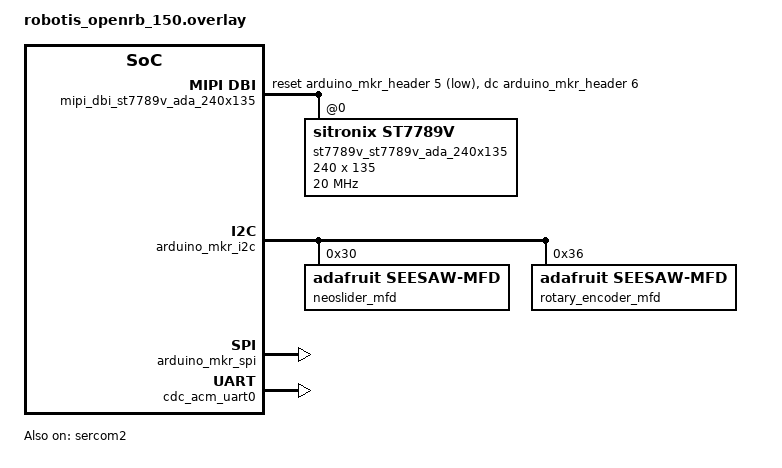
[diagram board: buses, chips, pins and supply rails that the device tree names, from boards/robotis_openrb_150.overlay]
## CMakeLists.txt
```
cmake_minimum_required(VERSION 3.20.0)

find_package(Zephyr REQUIRED HINTS $ENV{ZEPHYR_BASE})
project(motor_controller LANGUAGES C)

FILE(GLOB app_sources src/*.c)
target_sources(app PRIVATE ${app_sources})
```

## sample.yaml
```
# This file is provided so that the application can be compiled using Twister,
# the Zephyr testing tool. In this file, multiple combinations can be specified,
# so that you can easily test all of them locally or in CI.
sample:
  description: Motor Controller application
  name: motor-controller-application 
common:
  build_only: true
  integration_platforms:
    - robotis_openrb_150
tests:
  app.default: {}
  app.debug:
    extra_overlay_confs:
      - debug.conf
```

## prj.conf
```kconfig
CONFIG_MAIN_STACK_SIZE=2048
CONFIG_SYSTEM_WORKQUEUE_STACK_SIZE=1024
CONFIG_HEAP_MEM_POOL_SIZE=2048

# Logging
CONFIG_LOG=y
CONFIG_LOG_MODE_DEFERRED=y
CONFIG_LOG_PRINTK=y

# Shell
#
# Trimmed to make room for the new USB device stack, which costs ~13 KB flash
# and ~3.2 KB RAM more than the deprecated legacy one on a part that was
# already at 98.9% flash / 99.5% RAM (160 bytes of RAM free). These were the
# cheapest ~7.5 KB of flash available: the introspection shells and the thread
# instrumentation they depend on. SHELL_HELP is pure help strings -- every
# command still works, it just cannot describe itself.
#
# Restoring any of these means finding the flash elsewhere first. Do not
# re-enable one without re-checking the size report.
# NB: these need an explicit =n. KERNEL_SHELL, DEVICE_SHELL, INIT_STACKS,
# THREAD_MONITOR and THREAD_STACK_INFO all default to y once SHELL is on, so
# simply deleting the lines leaves them enabled and costs ~7.5 KB of flash.
CONFIG_SHELL=y
CONFIG_SHELL_HELP=n
CONFIG_SHELL_HISTORY=n
CONFIG_SHELL_TAB=n
CONFIG_SHELL_TAB_AUTOCOMPLETION=n
CONFIG_KERNEL_SHELL=n
CONFIG_DEVICE_SHELL=n
CONFIG_I2C_SHELL=n
CONFIG_THREAD_MONITOR=n
CONFIG_INIT_STACKS=n
CONFIG_THREAD_STACK_INFO=n
CONFIG_THREAD_NAME=y

# Drivers
CONFIG_I2C=y
CONFIG_ADC=y
CONFIG_LED_STRIP=y
CONFIG_SENSOR=y
CONFIG_MFD_ADAFRUIT_SEESAW=y
CONFIG_ADC_ADAFRUIT_SEESAW=y
CONFIG_LED_STRIP_ADAFRUIT_SEESAW=y
CONFIG_ADAFRUIT_SEESAW_ENCODER=y
# DYNAMIXEL_LOG_LEVEL_DBG was on here; its debug strings are flash this board
# no longer has. Re-enable it locally when debugging the bus, not in-tree.

# Actuator subsystem
CONFIG_ACTUATOR=y
CONFIG_ACTUATOR_DXL=y
CONFIG_PICOLIBC_IO_FLOAT=y

# USB
#
# The new device stack. The legacy CONFIG_USB_DEVICE_STACK selects DEPRECATED
# and is built entirely from __deprecated APIs, so it cannot survive a -Werror
# build (twister). VID/PID and the descriptor strings are no longer Kconfig;
# they live in src/usb.c, which also reimplements the BOSSA 1200-baud reset
# that soc/atmel/sam0/common/bossa.c only provides for the legacy stack.
CONFIG_USB_DEVICE_STACK_NEXT=y
CONFIG_USBD_CDC_ACM_CLASS=y
CONFIG_USBD_LOG_LEVEL_WRN=y
CONFIG_UDC_DRIVER_LOG_LEVEL_WRN=y
# Must be OFF, not ERR: cdc_acm_uart0 is zephyr,shell-uart, so with
# SHELL_LOG_BACKEND the CDC ACM driver logging about the transport it is
# logging over recurses. usbd_cdc_acm.c makes this a hard #warning, which
# -Werror turns into a build failure.
CONFIG_USBD_CDC_ACM_LOG_LEVEL_OFF=y

# CONFIG_SHELL_BACKEND_SERIAL_CHECK_DTR=y
CONFIG_UART_LINE_CTRL=y

# Display
CONFIG_SPI=y
CONFIG_DISPLAY=y

# LVGL
CONFIG_LVGL=y
CONFIG_LV_Z_FLUSH_THREAD=y

CONFIG_LV_THEME_DEFAULT_DARK=y

# LVGL dropped LV_CONF_MINIMAL; this mirrors its configs/defconfigs/minimal.defconfig
# minus the font/encoding/theme changes, keeping only what src/ uses.
CONFIG_LV_USE_LABEL=y
CONFIG_LV_USE_BAR=y
CONFIG_LV_USE_SLIDER=y
CONFIG_LV_USE_OBSERVER=n
CONFIG_LV_USE_THEME_SIMPLE=n
CONFIG_LV_USE_THEME_MONO=n
CONFIG_LV_USE_FLEX=n
CONFIG_LV_USE_GRID=n
CONFIG_LV_WIDGETS_HAS_DEFAULT_VALUE=n
CONFIG_LV_BUILD_EXAMPLES=n
CONFIG_LV_BUILD_DEMOS=n
CONFIG_LV_USE_ANIMIMG=n
CONFIG_LV_USE_ARC=n
CONFIG_LV_USE_ARCLABEL=n
CONFIG_LV_USE_BUTTONMATRIX=n
CONFIG_LV_USE_CALENDAR=n
CONFIG_LV_USE_CANVAS=n
CONFIG_LV_USE_CHART=n
CONFIG_LV_USE_CHECKBOX=n
CONFIG_LV_USE_DROPDOWN=n
CONFIG_LV_USE_IMAGEBUTTON=n
CONFIG_LV_USE_KEYBOARD=n
CONFIG_LV_USE_LED=n
CONFIG_LV_USE_LINE=n
CONFIG_LV_USE_LIST=n
CONFIG_LV_USE_MENU=n
CONFIG_LV_USE_MSGBOX=n
CONFIG_LV_USE_ROLLER=n
CONFIG_LV_USE_SCALE=n
CONFIG_LV_USE_SPAN=n
CONFIG_LV_USE_SPINBOX=n
CONFIG_LV_USE_SPINNER=n
CONFIG_LV_USE_SWITCH=n
CONFIG_LV_USE_TEXTAREA=n
CONFIG_LV_USE_TABLE=n
CONFIG_LV_USE_TABVIEW=n
CONFIG_LV_USE_TILEVIEW=n
CONFIG_LV_USE_WIN=n
# The panel is RGB565 (swapped); every other software-render format is dead code.
CONFIG_LV_DRAW_SW_SUPPORT_RGB565A8=n
CONFIG_LV_DRAW_SW_SUPPORT_RGB888=n
CONFIG_LV_DRAW_SW_SUPPORT_XRGB8888=n
CONFIG_LV_DRAW_SW_SUPPORT_ARGB8888=n
CONFIG_LV_DRAW_SW_SUPPORT_ARGB8888_PREMULTIPLIED=n
CONFIG_LV_DRAW_SW_SUPPORT_L8=n
CONFIG_LV_DRAW_SW_SUPPORT_AL88=n
CONFIG_LV_DRAW_SW_SUPPORT_I1=n
CONFIG_LV_USE_CHECK_ARG=n
CONFIG_LV_LABEL_TEXT_SELECTION=n
CONFIG_LV_LABEL_LONG_TXT_HINT=n

CONFIG_LV_Z_BITS_PER_PIXEL=16
CONFIG_LV_COLOR_FORMAT_RGB565=y
CONFIG_LV_COLOR_16_SWAP=y

# Rendering buffer, as a percentage of the 240x135x16bpp panel (64,800 B full).
# The default 10% is ~6.5 KB and was the single largest RAM consumer; the new
# USB stack needs ~2.7 KB of it. 5% is ~3.2 KB, still ~13 display lines per
# flush (one line is 480 B), so this costs redraw cycles, not correctness or
# any feature. It is the RAM knob to turn first if something else needs space.
CONFIG_LV_Z_VDB_SIZE=5

# CONFIG_LV_Z_MEM_POOL_SIZE=2048
```

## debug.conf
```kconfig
# No compiler section.
#
# This used to set CONFIG_DEBUG_OPTIMIZATIONS=y, which switches -Os to -Og and
# adds ~56 KB to an image that already fills 99% of the SAMD21's 232 KB. It has
# never linked on any revision of this app -- it only looked green because
# twister aborted earlier, on the legacy USB stack's deprecation warnings.
#
# Nothing is needed to replace it: the normal build already compiles with
# -gdwarf-4, so gdb has full symbols and line tables at -Os today. Stepping
# through -Os is less pleasant than -Og, and on a part this full that is simply
# the trade. If you need -Og, drop LVGL or the display from the build first.
#
# CONFIG_DEBUG_THREAD_INFO (RTOS-aware debugging) is deliberately not set here
# either: it selects THREAD_MONITOR, which prj.conf turns off to make room for
# the USB stack. Enable both together locally if you need thread awareness, and
# expect to give up something else.

# console
CONFIG_CONSOLE=y

# UART console
CONFIG_SERIAL=y
CONFIG_UART_CONSOLE=y

# logging
CONFIG_LOG=y
CONFIG_APP_LOG_LEVEL_DBG=y
```

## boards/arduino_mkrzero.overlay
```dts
/ {
	chosen {
		zephyr,shell-uart = &cdc_acm_uart0;
	};
};

&zephyr_udc0 {
	cdc_acm_uart0: cdc_acm_uart0 {
		compatible = "zephyr,cdc-acm-uart";
	};
};
```

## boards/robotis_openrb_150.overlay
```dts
#include <zephyr/dt-bindings/display/panel.h>
#include <zephyr/dt-bindings/led/led.h>

/ {
	chosen {
		zephyr,shell-uart = &cdc_acm_uart0;
		zephyr,display = &st7789v_st7789v_ada_240x135;
	};

	mipi_dbi_st7789v_ada_240x135 {
		compatible = "zephyr,mipi-dbi-spi";
		spi-dev = <&arduino_mkr_spi>;
		dc-gpios = <&arduino_mkr_header 6 GPIO_ACTIVE_HIGH>;	/* D6 */
		reset-gpios = <&arduino_mkr_header 5 GPIO_ACTIVE_LOW>;	/* D5 */
		#address-cells = <1>;
		#size-cells = <0>;

		/* https://learn.adafruit.com/adafruit-1-14-240x135-color-tft-breakout */
		st7789v_st7789v_ada_240x135: st7789v@0 {
			compatible = "sitronix,st7789v";
			reg = <0>;
			mipi-max-frequency = <20000000>;
			mipi-mode = "MIPI_DBI_MODE_SPI_4WIRE";
			pixel-format = <PANEL_PIXEL_FORMAT_RGB_565>;
			width = <240>;
			height = <135>;
			x-offset = <40>;
			y-offset = <53>;
			vcom = <0x19>;
			gctrl = <0x35>;
			vrhs = <0x12>;
			vdvs = <0x20>;
			mdac = <0x70>;
			gamma = <0x01>;
			lcm = <0x2c>;
			porch-param = [0c 0c 00 33 33];
			cmd2en-param = [5a 69 02 01];
			pwctrl1-param = [a4 a1];
			pvgam-param = [d0 04 0d 11 13 2b 3f 54 4c 18 0d 0b 1f 23];
			nvgam-param = [d0 04 0c 11 13 2c 3f 44 51 2f 1f 1f 20 23];
			ram-param = [00 f0];
			rgb-param = [cd 08 14];
		};
	};
};

&sercom2 {
	current-speed = <115200>;
	status = "okay";

	dxl_bus: dynamixel {
		compatible = "robotis,dynamixel";
		#address-cells = <1>;
		#size-cells = <0>;
		status = "okay";

		motor0: motor@1 {
			compatible = "rosterloh,actuator-dxl";
			reg = <1>;
			default-mode = "position";
			label = "TEST";
		};
	};
};

&arduino_mkr_i2c {
	neoslider_mfd: seesaw@30 {
		compatible = "adafruit,seesaw-mfd";
		reg = <0x30>;
		read-delay-us = <100000>;  /* legacy used 100 ms; preserve */
		status = "okay";

		neoslider_adc: adc {
			compatible = "adafruit,seesaw-adc";
			#io-channel-cells = <1>;
		};

		neoslider_leds: neopixel {
			compatible = "adafruit,seesaw-neopixel";
			chain-length = <4>;
			color-mapping = <LED_COLOR_ID_GREEN LED_COLOR_ID_RED LED_COLOR_ID_BLUE>;
			seesaw-pin = <14>;
			frequency = <800000>;
		};
	};

	rotary_encoder_mfd: seesaw@36 {
		compatible = "adafruit,seesaw-mfd";
		reg = <0x36>;
		read-delay-us = <100000>;
		status = "okay";

		rotary_encoder: encoder {
			compatible = "adafruit,seesaw-encoder";
		};
	};
};

&arduino_mkr_spi {
	cs-gpios = <&arduino_mkr_header 7 GPIO_ACTIVE_LOW>;		/* D7 */
	status = "okay";
};

&zephyr_udc0 {
	/* Half the binding's 1024 B default. Since Zephyr 6d69698de74 each FIFO is
	 * a dedicated pool of 64 B net_bufs (16 at the default, each with its own
	 * header) rather than a ring buffer, which cost this 32 KB part ~600 B of
	 * RAM and overflowed it. 8 packets each way is ample for the shell and
	 * log traffic this port carries; must stay >= 2 x the 64 B bulk MPS.
	 */
	cdc_acm_uart0: cdc_acm_uart0 {
		compatible = "zephyr,cdc-acm-uart";
		tx-fifo-size = <512>;
		rx-fifo-size = <512>;
	};
};
```

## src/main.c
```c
#include <math.h>
#include <zephyr/kernel.h>
#include <zephyr/drivers/display.h>
#include <zephyr/actuator/actuator.h>
#include <zephyr/actuator/actuator_group.h>
#include <zephyr/drivers/adc.h>
#include <zephyr/drivers/led_strip.h>
#include <zephyr/drivers/sensor.h>
#include <zephyr/app_version.h>
#include <lvgl.h>

#include <zephyr/logging/log.h>
LOG_MODULE_REGISTER(main, CONFIG_APP_LOG_LEVEL);

#ifndef M_PI
#define M_PI 3.14159265358979323846f
#endif

#define MOTOR0 DEVICE_DT_GET(DT_NODELABEL(motor0))

ACTUATOR_GROUP_DEFINE(arm, MOTOR0);

static const struct device *const neoslider_adc = DEVICE_DT_GET(DT_NODELABEL(neoslider_adc));
static const struct device *const neoslider_leds = DEVICE_DT_GET(DT_NODELABEL(neoslider_leds));
static const struct device *const rotary_encoder = DEVICE_DT_GET(DT_NODELABEL(rotary_encoder));
static uint16_t last_slider = UINT16_MAX;
static uint16_t slider_sample;

#define NEOSLIDER_ADC_CHANNEL 18
#define NEOSLIDER_NUM_LEDS    4

static const struct adc_channel_cfg slider_chan_cfg = {
	.gain = ADC_GAIN_1,
	.reference = ADC_REF_INTERNAL,
	.acquisition_time = ADC_ACQ_TIME_DEFAULT,
	.channel_id = NEOSLIDER_ADC_CHANNEL,
};

static const struct adc_sequence slider_seq = {
	.channels = BIT(NEOSLIDER_ADC_CHANNEL),
	.buffer = &slider_sample,
	.buffer_size = sizeof(slider_sample),
	.resolution = 10,
};
#define INPUTS_SCAN_MS 300

static char slide_str[11];
static lv_obj_t *slide_label;
static lv_obj_t *slider;

static void on_feedback(const struct device *dev, const struct actuator_feedback *fb, void *ud)
{
	ARG_UNUSED(ud);
	LOG_INF("%s: pos=%.3f vel=%.3f temp=%.0f flags=0x%08x", dev->name, (double)fb->position,
		(double)fb->velocity, (double)fb->temperature, fb->fault_flags);
}

/* Runs on the main thread: LVGL is not thread-safe, and lvgl_lock() is a no-op
 * unless LVGL runs on its own work queue.
 */
static void inputs_scan(void)
{
	int err = adc_read(neoslider_adc, &slider_seq);
	if (err == 0 && slider_sample != last_slider) {
		lv_slider_set_value(slider, slider_sample, LV_ANIM_OFF);
		snprintf(slide_str, sizeof(slide_str), "%u", slider_sample);
		lv_label_set_text(slide_label, slide_str);
		last_slider = slider_sample;

		/* Map slider [0..1023] to [-pi..+pi] rad. */
		float rad = ((float)slider_sample / 1023.0f) * 2.0f * (float)M_PI - (float)M_PI;
		float goals[1] = {rad};
		(void)actuator_group_set_position(&arm, goals);
	}
}

int main(void)
{
	int ret;
	const struct device *display_dev;

	LOG_INF("Motor Controller Application %s", APP_VERSION_STRING);

	for (size_t i = 0; i < arm.n; i++) {
		if (!device_is_ready(arm.devs[i])) {
			LOG_ERR("actuator %s not ready", arm.devs[i]->name);
			return -ENODEV;
		}
		(void)actuator_register_feedback_cb(arm.devs[i], on_feedback, NULL);
	}

	ret = actuator_group_enable(&arm);
	if (ret) {
		LOG_ERR("group enable: %d", ret);
		return ret;
	}

	if (!device_is_ready(neoslider_adc) || !device_is_ready(neoslider_leds)) {
		LOG_ERR("Error: neoslider devices not ready");
		return 0;
	}
	if (adc_channel_setup(neoslider_adc, &slider_chan_cfg) != 0) {
		LOG_ERR("ADC channel setup failed");
		return 0;
	}

	/* Clear all neoslider LEDs at startup. */
	struct led_rgb off_pixels[NEOSLIDER_NUM_LEDS] = {0};
	(void)led_strip_update_rgb(neoslider_leds, off_pixels, ARRAY_SIZE(off_pixels));

	/* Log rotary encoder initial position if present. */
	if (device_is_ready(rotary_encoder)) {
		struct sensor_value pos;
		if (sensor_sample_fetch(rotary_encoder) == 0 &&
		    sensor_channel_get(rotary_encoder, SENSOR_CHAN_ROTATION, &pos) == 0) {
			LOG_INF("Rotary encoder initial position: %d", pos.val1);
		}
	}

	display_dev = DEVICE_DT_GET(DT_CHOSEN(zephyr_display));
	if (!device_is_ready(display_dev)) {
		LOG_ERR("Device %s not found", display_dev->name);
	}

	slider = lv_slider_create(lv_screen_active());
	lv_obj_center(slider);
	lv_slider_set_range(slider, 0, 1023);
	lv_slider_set_value(slider, 25, LV_ANIM_OFF);
	lv_obj_refresh_ext_draw_size(slider);

	slide_label = lv_label_create(lv_screen_active());
	lv_obj_align_to(slide_label, slider, LV_ALIGN_OUT_BOTTOM_MID, 0, 10);

	lv_task_handler();
	display_blanking_off(display_dev);

	int64_t next_scan = 0;

	while (1) {
		if (k_uptime_get() >= next_scan) {
			inputs_scan();
			next_scan = k_uptime_get() + INPUTS_SCAN_MS;
		}
		lv_task_handler();
		k_sleep(K_MSEC(10));
	}
	return 0;
}
```

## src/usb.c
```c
#include <zephyr/init.h>
#include <zephyr/device.h>
#include <zephyr/drivers/uart.h>
#include <zephyr/drivers/usb/udc.h>
#include <zephyr/usb/usbd.h>
#include <zephyr/usb/bos.h>

#include <zephyr/logging/log.h>
LOG_MODULE_REGISTER(usb, LOG_LEVEL_INF);

#define APP_USB_VID       0x2f5d
#define APP_USB_PID       0x2202
#define APP_USB_MAX_POWER 250 // bMaxPower value in the sample configuration in 2 mA units

#if defined(CONFIG_USB_DEVICE_STACK_NEXT)
USBD_DEVICE_DEFINE(app_usbd, DEVICE_DT_GET(DT_NODELABEL(zephyr_udc0)), APP_USB_VID, APP_USB_PID);
USBD_DESC_LANG_DEFINE(app_lang);
USBD_DESC_MANUFACTURER_DEFINE(app_mfr, "ROBOTIS");
USBD_DESC_PRODUCT_DEFINE(app_product, "OpenRB-150");
// C8A0685C5055344E312E3120FF0E2134
USBD_DESC_SERIAL_NUMBER_DEFINE(app_sn);
USBD_DESC_CONFIG_DEFINE(fs_cfg_desc, "FS Configuration");
USBD_CONFIGURATION_DEFINE(app_fs_config, USB_SCD_SELF_POWERED, APP_USB_MAX_POWER, &fs_cfg_desc);

static const struct usb_bos_capability_lpm bos_cap_lpm = {
	.bLength = sizeof(struct usb_bos_capability_lpm),
	.bDescriptorType = USB_DESC_DEVICE_CAPABILITY,
	.bDevCapabilityType = USB_BOS_CAPABILITY_EXTENSION,
	.bmAttributes = 0UL,
};
USBD_DESC_BOS_DEFINE(app_usbext, sizeof(bos_cap_lpm), &bos_cap_lpm);

/*
 * BOSSA 1200-baud touch reset.
 *
 * The legacy USB stack got this for free from soc/atmel/sam0/common/bossa.c,
 * which hangs off CDC_ACM_DTE_RATE_CALLBACK_SUPPORT -- a legacy-stack-only
 * symbol. Under the new stack BOOTLOADER_BOSSA_DEVICE_NAME is unsatisfiable,
 * so bossa.c compiles to nothing and the behaviour has to live here instead.
 *
 * Without it `west flash` (bossac) cannot put the board into its bootloader,
 * and every flash needs a manual double-tap of the reset button.
 *
 * The magic value and its SRAM location are a contract with the bootloader:
 * keep them identical to bossa.c.
 */
#if defined(CONFIG_BOOTLOADER_BOSSA_ADAFRUIT_UF2)
#define BOSSA_DOUBLE_TAP_MAGIC 0xf01669ef
#elif defined(CONFIG_BOOTLOADER_BOSSA_ARDUINO)
#define BOSSA_DOUBLE_TAP_MAGIC 0x07738135
#endif

static void usb_msg_cb(struct usbd_context *const ctx, const struct usbd_msg *msg)
{
	if (msg->type != USBD_MSG_CDC_ACM_LINE_CODING) {
		return;
	}

#if defined(BOSSA_DOUBLE_TAP_MAGIC)
	uint32_t baudrate = 0U;

	if (uart_line_ctrl_get(msg->dev, UART_LINE_CTRL_BAUD_RATE, &baudrate)) {
		return;
	}

	if (baudrate == 1200) {
		uint32_t *top = (uint32_t *)(DT_REG_ADDR(DT_NODELABEL(sram0)) +
					     DT_REG_SIZE(DT_NODELABEL(sram0)));

		/* Detach before resetting, as bossa.c did, so the host sees the
		 * device go away rather than stop responding mid-enumeration. */
		(void)usbd_disable(ctx);
		top[-1] = BOSSA_DOUBLE_TAP_MAGIC;
		NVIC_SystemReset();
	}
#endif
}

static int app_usb_init(void)
{
	int err;

	err = usbd_add_descriptor(&app_usbd, &app_lang);
	err |= usbd_add_descriptor(&app_usbd, &app_mfr);
	err |= usbd_add_descriptor(&app_usbd, &app_product);
	err |= usbd_add_descriptor(&app_usbd, &app_sn);
	if (err) {
		LOG_ERR("Failed to initialise string descriptor (%d)", err);
		return err;
	}

	err = usbd_add_configuration(&app_usbd, USBD_SPEED_FS, &app_fs_config);
	if (err) {
		LOG_ERR("Failed to add Full-Speed configuration");
		return err;
	}

	err = usbd_register_all_classes(&app_usbd, USBD_SPEED_FS, 1, NULL);
	if (err) {
		LOG_ERR("Failed to add register classes");
		return err;
	}

	/*
	 * Class with multiple interfaces have an Interface Association Descriptor
	 * available, use an appropriate triple to indicate it.
	 */
	usbd_device_set_code_triple(&app_usbd, USBD_SPEED_FS, USB_BCC_MISCELLANEOUS, 0x02, 0x01);

	err = usbd_msg_register_cb(&app_usbd, &usb_msg_cb);
	if (err) {
		LOG_ERR("Failed to register message callback");
		return err;
	}

	(void)usbd_device_set_bcd_usb(&app_usbd, USBD_SPEED_FS, 0x0201);

	err = usbd_add_descriptor(&app_usbd, &app_usbext);
	if (err) {
		LOG_ERR("Failed to add USB 2.0 Extension Descriptor");
		return err;
	}

	err = usbd_init(&app_usbd);
	if (err) {
		LOG_ERR("Failed to initialise device support");
		return err;
	}

	// if (!usbd_can_detect_vbus(&app_usbd)) {
	err = usbd_enable(&app_usbd);
	if (err) {
		LOG_ERR("Failed to enable device support");
		return err;
	}
	// }

	return err;
}

SYS_INIT(app_usb_init, POST_KERNEL, CONFIG_APPLICATION_INIT_PRIORITY); // APPLICATION
#endif /* defined(CONFIG_USB_DEVICE_STACK_NEXT) */
```
